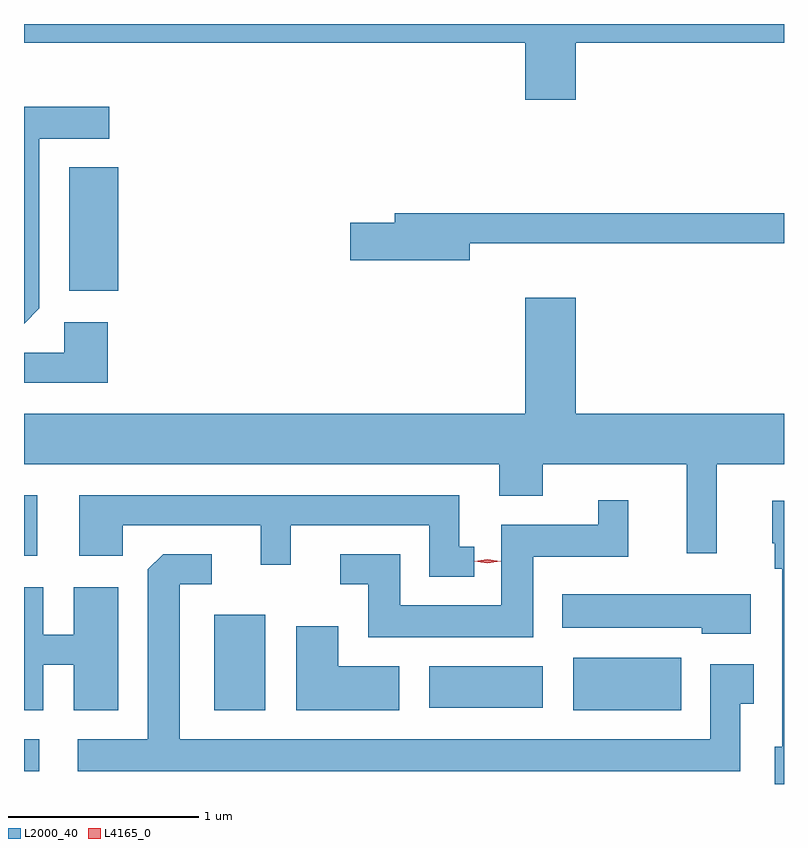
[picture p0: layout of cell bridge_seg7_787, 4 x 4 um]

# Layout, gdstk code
import gdstk
lib = gdstk.Library(unit=1e-6, precision=1e-09)
def R(c, l, rs):  # rectangles x0, y0, x1, y1
    for r in rs: c.add(gdstk.rectangle(r[:2], r[2:], *l))
def P(c, l, *ps):  # polygons
    for p in ps: c.add(gdstk.Polygon(p, *l))
L2000_40 = (2000, 40)
L4165_0 = (4165, 0)

bridge_seg7_787 = lib.new_cell('bridge_seg7_787')
R(bridge_seg7_787, L2000_40, [(352.299,1743.781,352.378,1743.949), (353.301,1744.101,353.569,1744.604), (355.191,1744.101,355.759,1744.379), (354.431,1744.116,355.029,1744.334), (352.299,1744.916,352.369,1745.234), (352.536,1746.311,352.794,1746.959)])
P(bridge_seg7_787, L2000_40, [(355.204,1747.616),(356.299,1747.616),(356.299,1747.714),(352.299,1747.714),(352.299,1747.616),(354.936,1747.616),(354.936,1747.316),(355.204,1747.316)],
  [(352.379,1746.217),(352.379,1747.111),(352.748,1747.111),(352.748,1747.279),(352.299,1747.279),(352.299,1746.136)],
  [(354.644,1746.561),(356.299,1746.561),(356.299,1746.719),(354.251,1746.719),(354.251,1746.669),(354.016,1746.669),(354.016,1746.471),(354.644,1746.471)],
  [(355.944,1745.396),(356.299,1745.396),(356.299,1745.664),(355.204,1745.664),(355.204,1746.274),(354.936,1746.274),(354.936,1745.664),(352.299,1745.664),(352.299,1745.396),(354.801,1745.396),(354.801,1745.231),(355.029,1745.231),(355.029,1745.396),(355.786,1745.396),(355.786,1744.928),(355.944,1744.928)],
  [(352.739,1746.144),(352.511,1746.144),(352.511,1745.984),(352.299,1745.984),(352.299,1745.826),(352.739,1745.826)],
  [(354.668,1744.964),(354.589,1744.964),(354.589,1745.234),(352.591,1745.234),(352.591,1744.916),(352.819,1744.916),(352.819,1745.076),(353.546,1745.076),(353.546,1744.868),(353.704,1744.868),(353.704,1745.076),(354.431,1745.076),(354.431,1744.806),(354.668,1744.806)],
  [(354.979,1744.911),(355.479,1744.911),(355.479,1745.208),(355.321,1745.208),(355.321,1745.079),(354.811,1745.079),(354.811,1744.654),(354.279,1744.654),(354.279,1744.924),(353.963,1744.924),(353.963,1744.766),(354.111,1744.766),(354.111,1744.486),(354.979,1744.486)],
  [(356.299,1745.204),(356.236,1745.204),(356.236,1744.98),(356.251,1744.98),(356.251,1744.846),(356.291,1744.846),(356.291,1743.909),(356.251,1743.909),(356.251,1743.714),(356.299,1743.714)],
  [(356.069,1744.136),(356.139,1744.136),(356.139,1744.344),(355.911,1744.344),(355.911,1743.949),(353.119,1743.949),(353.119,1744.766),(353.288,1744.766),(353.288,1744.924),(353.032,1744.924),(352.951,1744.844),(352.951,1743.949),(352.583,1743.949),(352.583,1743.781),(356.069,1743.781)],
  [(352.399,1744.341),(352.561,1744.341),(352.561,1744.101),(352.794,1744.101),(352.794,1744.749),(352.561,1744.749),(352.561,1744.499),(352.399,1744.499),(352.399,1744.749),(352.299,1744.749),(352.299,1744.101),(352.399,1744.101)],
  [(356.124,1744.714),(355.131,1744.714),(355.131,1744.536),(355.866,1744.536),(355.866,1744.506),(356.124,1744.506)],
  [(354.274,1744.334),(353.954,1744.334),(353.954,1744.544),(353.731,1744.544),(353.731,1744.101),(354.274,1744.101)])
P(bridge_seg7_787, L4165_0, [(354.738,1744.877),(354.669,1744.886),(354.669,1744.887),(354.669,1744.887),(354.738,1744.897),(354.808,1744.887),(354.808,1744.887),(354.808,1744.886)])

lib.write_gds('bridge_seg7_787.gds')
